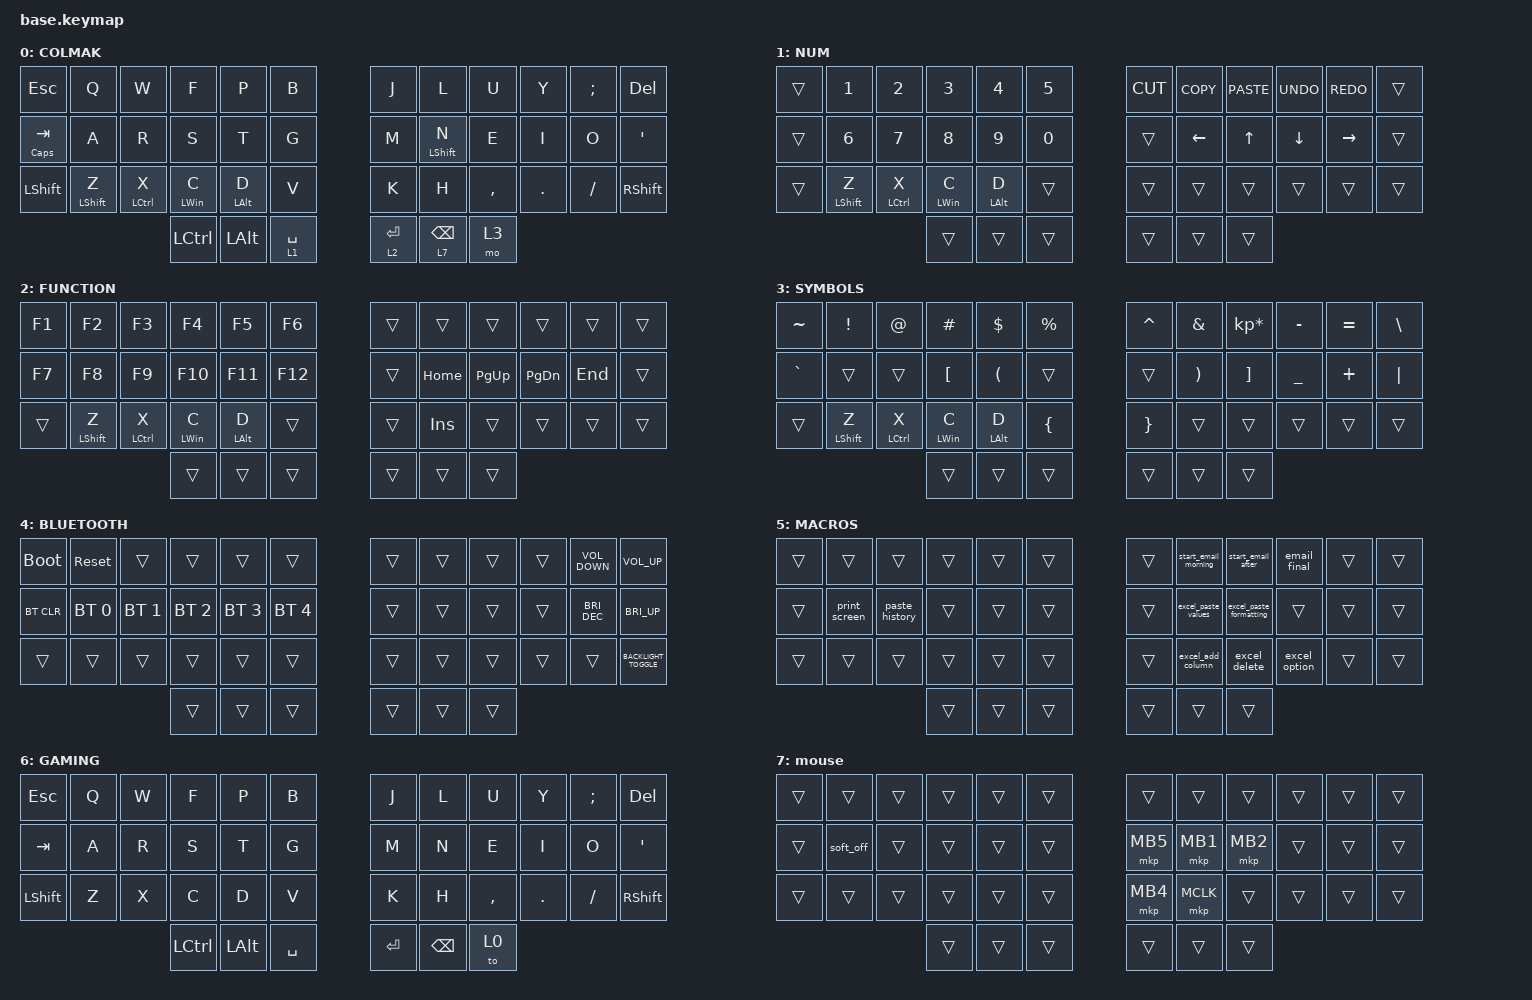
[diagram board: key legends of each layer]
#include <behaviors.dtsi>
#include <behaviors/num_word.dtsi> // requires auto-layer module
#include <dt-bindings/zmk/keys.h>
#ifdef CONFIG_WIRELESS
    #include <dt-bindings/zmk/bt.h>
    #define _BT_SEL_KEYS_ &bt BT_SEL 0 &bt BT_SEL 1 &bt BT_SEL 2 &bt BT_SEL 3 &bt BT_CLR
#else
    #define _BT_SEL_KEYS_ &trans &trans &trans &trans &trans
#endif

#include "zmk-helpers/helper.h"
#include "zmk-helpers/unicode-chars/greek.dtsi"
#include "zmk-helpers/unicode-chars/german.dtsi"

#define DEF 0
#define NAV 1
#define FN 2
#define NUM 3
#define SYS 4
#define MOUSE 5

#define XXX &none
#define ___ &trans



/* Combos, leader key sequences, mouse emulation */

#include "combos.dtsi"  // must be sources after HRM-combo hack
#include "leader.dtsi"
#include "mouse.dtsi"
#include "extra_keys.h"

/ {
    combos {
        compatible = "zmk,combos";

        l {
            bindings = <&sl 5>;
            key-positions = <5 17>;
        };

        macros {
            bindings = <&sl 5>;
            key-positions = <16 19>;
        };

        gaming {
            bindings = <&to 6>;
            key-positions = <6 18>;
        };
    };

    macros {
        print_screen: print_screen {
            compatible = "zmk,behavior-macro";
            #binding-cells = <0>;
            bindings =
                <&macro_press>,
                <&kp LEFT_SHIFT &kp LEFT_WIN &kp S>,
                <&macro_release>;

            label = "PRINT_SCREEN";
        };

        paste_history: paste_history {
            compatible = "zmk,behavior-macro";
            #binding-cells = <0>;
            bindings = <&macro_press>, <&kp LEFT_WIN &kp V>, <&macro_release>;

            label = "PASTE_HISTORY";
        };

        excel_paste_values: paste_values {
            compatible = "zmk,behavior-macro";
            #binding-cells = <0>;
            bindings = <&kp LEFT_ALT &kp H &kp V &kp V>;
            label = "PASTE_VALUES";
        };

        excel_paste_formatting: paste_formatting {
            compatible = "zmk,behavior-macro";
            #binding-cells = <0>;
            bindings = <&kp LEFT_ALT &kp H &kp V &kp R>;
            label = "PASTE_FORMATTING";
        };

        email_final: create_table {
            compatible = "zmk,behavior-macro";
            #binding-cells = <0>;
            bindings = <&kp LS(R) &kp E &kp G &kp A &kp R &kp D &kp S &kp COMMA &kp RET &kp LS(D) &kp A &kp N &kp I &kp E &kp L &kp SPACE &kp LS(J) &kp I &kp N>;
            label = "CREATE_TABLE";
        };

        start_email_morning: start_email {
            compatible = "zmk,behavior-macro";
            #binding-cells = <0>;
            bindings = <&kp LS(G) &kp O &kp O &kp D &kp SPACE &kp M &kp O &kp R &kp N &kp I &kp N &kp G &kp SPACE &kp COMMA &kp SPACE &kp LS(I) &kp SPACE &kp H &kp O &kp P &kp E &kp SPACE &kp Y &kp O &kp U &kp SQT &kp R &kp E &kp SPACE &kp D &kp O &kp I &kp N &kp G &kp SPACE &kp W &kp E &kp L &kp L &kp COMMA>;
            label = "START_EMAIL";
        };

        start_email_after: start_email_after {
            compatible = "zmk,behavior-macro";
            #binding-cells = <0>;
            bindings = <&kp LS(G) &kp O &kp O &kp D &kp SPACE &kp A &kp F &kp T &kp E &kp R &kp N &kp O &kp O &kp N &kp SPACE &kp COMMA &kp SPACE &kp LS(I) &kp SPACE &kp H &kp O &kp P &kp E &kp SPACE &kp Y &kp O &kp U &kp SQT &kp R &kp E &kp SPACE &kp D &kp O &kp I &kp N &kp G &kp SPACE &kp W &kp E &kp L &kp L &kp COMMA>;
            label = "START_EMAIL_AFTER";
        };

        excel_option: excel_option {
            compatible = "zmk,behavior-macro";
            #binding-cells = <0>;
            bindings = <&sk LEFT_SHIFT &kp F10>;
            label = "EXCEL_OPTION";
        };

        excel_add_column: excel_add_column {
            compatible = "zmk,behavior-macro";
            #binding-cells = <0>;
            bindings = <&sk LEFT_CONTROL &kp PLUS>;
            label = "EXCEL_ADD_COLUMN";
        };

        excel_delete: excel_delete {
            compatible = "zmk,behavior-macro";
            #binding-cells = <0>;
            bindings = <&sk LEFT_CONTROL &kp MINUS>;
            label = "EXCEL_DELETE";
        };
    };

    keymap {
        compatible = "zmk,keymap";

        colmak_dh {
            // -----------------------------------------------------------------------------------------
            // |  TAB |  Q  |  W  |  E  |  R  |  T  |   |  Y  |  U   |  I  |  O  |  P  | BKSP |
            // | CTRL |  A  |  S  |  D  |  F  |  G  |   |  H  |  J   |  K  |  L  |  ;  |  '   |
            // | SHFT |  Z  |  X  |  C  |  V  |  B  |   |  N  |  M   |  ,  |  .  |  /  | ESC  |
            //                    | GUI | LWR | SPC |   | ENT | RSE  | ALT |

            display-name = "COLMAK";
            bindings = <
&kp ESC       &kp Q             &kp W               &kp F             &kp P           &kp B          &kp J        &kp L             &kp U      &kp Y    &kp SEMICOLON  &kp DEL
&mt CLCK TAB  &kp A             &kp R               &kp S             &kp T           &kp G          &kp M        &mt LEFT_SHIFT N  &kp E      &kp I    &kp O          &kp SQT
&kp LSHIFT    &mt LEFT_SHIFT Z  &mt LEFT_CONTROL X  &mt LEFT_WIN C    &mt LEFT_ALT D  &kp V          &kp K        &kp H             &kp COMMA  &kp DOT  &kp FSLH       &kp RIGHT_SHIFT
                                                    &kp LEFT_CONTROL  &kp LEFT_ALT    &lt 1 SPACE    &lt 2 ENTER  &lt 7 BACKSPACE   &mo 3
            >;
        };

        num {
            // -----------------------------------------------------------------------------------------
            // |  TAB |  1  |  2  |  3  |  4  |  5  |   |  6  |  7  |  8  |  9  |  0  | BKSP |
            // | BTCLR| BT1 | BT2 | BT3 | BT4 | BT5 |   | LFT | DWN |  UP | RGT |     |      |
            // | SHFT |     |     |     |     |     |   |     |     |     |     |     |      |
            //                    | GUI |     | SPC |   | ENT |     | ALT |

            display-name = "NUM";
            bindings = <
&trans  &kp NUMBER_1      &kp NUMBER_2        &kp NUMBER_3    &kp NUMBER_4    &kp N5    &kp K_CUT  &kp K_COPY      &kp K_PASTE   &kp K_UNDO      &kp K_REDO       &trans
&trans  &kp NUMBER_6      &kp N7              &kp N8          &kp N9          &kp N0    &trans     &kp LEFT_ARROW  &kp UP_ARROW  &kp DOWN_ARROW  &kp RIGHT_ARROW  &trans
&trans  &mt LEFT_SHIFT Z  &mt LEFT_CONTROL X  &mt LEFT_WIN C  &mt LEFT_ALT D  &trans    &trans     &trans          &trans        &trans          &trans           &trans
                                              &trans          &trans          &trans    &trans     &trans          &trans
            >;
        };

        FUNCTION {
            // -----------------------------------------------------------------------------------------
            // |  TAB |  !  |  @  |  #  |  $  |  %  |   |  ^  |  &  |  *  |  (  |  )  | BKSP |
            // | CTRL |     |     |     |     |     |   |  -  |  =  |  [  |  ]  |  \  |  `   |
            // | SHFT |     |     |     |     |     |   |  _  |  +  |  {  |  }  | "|" |  ~   |
            //                    | GUI |     | SPC |   | ENT |     | ALT |

            bindings = <
&kp F1  &kp F2            &kp F3              &kp F4          &kp F5          &kp F6     &trans  &trans    &trans     &trans         &trans   &trans
&kp F7  &kp F8            &kp F9              &kp F10         &kp F11         &kp F12    &trans  &kp HOME  &kp PG_UP  &kp PAGE_DOWN  &kp END  &trans
&trans  &mt LEFT_SHIFT Z  &mt LEFT_CONTROL X  &mt LEFT_WIN C  &mt LEFT_ALT D  &trans     &trans  &kp INS   &trans     &trans         &trans   &trans
                                              &trans          &trans          &trans     &trans  &trans    &trans
            >;
        };

        symbols {
            bindings = <
&kp TILDE  &kp EXCL          &kp AT              &kp HASH          &kp DLLR              &kp PRCNT         &kp CARET        &kp AMPS               &kp KP_MULTIPLY    &kp MINUS       &kp EQUAL  &kp BACKSLASH
&kp GRAVE  &trans            &trans              &kp LEFT_BRACKET  &kp LEFT_PARENTHESIS  &trans            &trans           &kp RIGHT_PARENTHESIS  &kp RIGHT_BRACKET  &kp UNDERSCORE  &kp PLUS   &kp PIPE
&trans     &mt LEFT_SHIFT Z  &mt LEFT_CONTROL X  &mt LEFT_WIN C    &mt LEFT_ALT D        &kp LEFT_BRACE    &kp RIGHT_BRACE  &trans                 &trans             &trans          &trans     &trans
                                                 &trans            &trans                &trans            &trans           &trans                 &trans
            >;

            display-name = "SYMBOLS";
        };

        BLUETOOTH {
            bindings = <
&bootloader  &sys_reset    &trans        &trans        &trans        &trans          &trans  &trans  &trans  &trans  &kp C_VOLUME_DOWN  &kp C_VOLUME_UP
&bt BT_CLR   &bt BT_SEL 0  &bt BT_SEL 1  &bt BT_SEL 2  &bt BT_SEL 3  &bt BT_SEL 4    &trans  &trans  &trans  &trans  &kp C_BRI_DEC      &kp C_BRI_UP
&trans       &trans        &trans        &trans        &trans        &trans          &trans  &trans  &trans  &trans  &trans             &kp C_BACKLIGHT_TOGGLE
                                         &trans        &trans        &trans          &trans  &trans  &trans
            >;
        };

        MACROS {
            bindings = <
&trans  &trans         &trans          &trans  &trans  &trans    &trans  &start_email_morning  &start_email_after       &email_final   &trans  &trans
&trans  &print_screen  &paste_history  &trans  &trans  &trans    &trans  &excel_paste_values   &excel_paste_formatting  &trans         &trans  &trans
&trans  &trans         &trans          &trans  &trans  &trans    &trans  &excel_add_column     &excel_delete            &excel_option  &trans  &trans
                                       &trans  &trans  &trans    &trans  &trans                &trans
            >;
        };

        GAMING {
            bindings = <
&kp ESC    &kp Q  &kp W  &kp F      &kp P         &kp B        &kp J      &kp L     &kp U      &kp Y    &kp SEMI  &kp DEL
&kp TAB    &kp A  &kp R  &kp S      &kp T         &kp G        &kp M      &kp N     &kp E      &kp I    &kp O     &kp SQT
&kp LSHFT  &kp Z  &kp X  &kp C      &kp D         &kp V        &kp K      &kp H     &kp COMMA  &kp DOT  &kp FSLH  &kp RSHFT
                         &kp LCTRL  &kp LEFT_ALT  &kp SPACE    &kp ENTER  &kp BSPC  &to 0
            >;
        };

        mouse {
            bindings = <
&trans  &trans     &trans  &trans  &trans  &trans    &trans    &trans     &trans    &trans  &trans  &trans
&trans  &soft_off  &trans  &trans  &trans  &trans    &mkp MB5  &mkp MB1   &mkp MB2  &trans  &trans  &trans
&trans  &trans     &trans  &trans  &trans  &trans    &mkp MB4  &mkp MCLK  &trans    &trans  &trans  &trans
                           &trans  &trans  &trans    &trans    &trans     &trans
            >;
        };
    };
};
